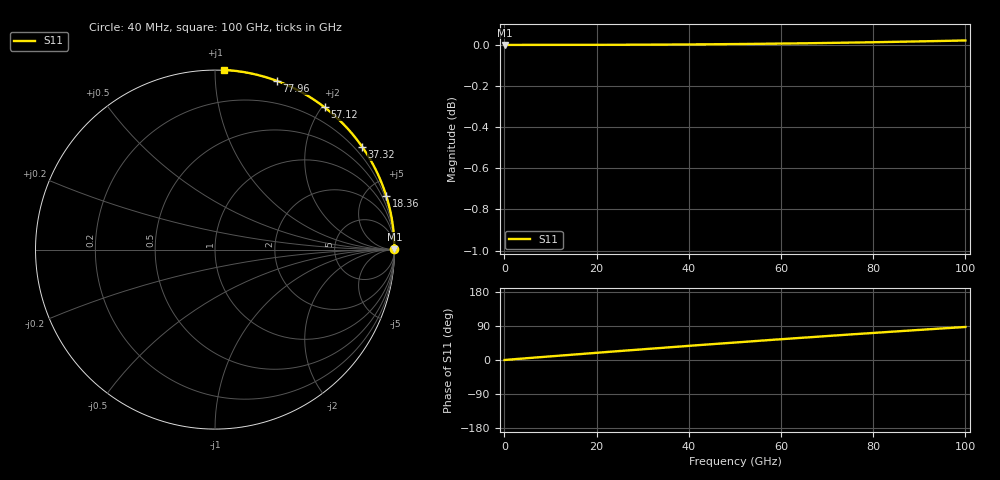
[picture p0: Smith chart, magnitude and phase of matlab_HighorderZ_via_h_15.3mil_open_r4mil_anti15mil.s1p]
#  GHz  S  RI  R  50
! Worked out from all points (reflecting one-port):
!   2500 points, 40 MHz to 100 GHz, reference 50 ohm
!   lowest |S11| = 0.0 dB at 40 MHz (marker M1)
!   phase of S11 starts at 0 deg and turns +87 deg over the sweep
!   S11 on the Smith chart (normalised r, x): 40 MHz: open; 18.36 GHz: -0.00, +6.50; 37.32 GHz: -0.00, +3.18; 57.12 GHz: -0.00, +2.03; 77.96 GHz: -0.00, +1.43; 100 GHz: -0.00, +1.05
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0.04  1 0.000722
0.48  1 0.0084
3.36  0.9984 0.0573
6.24  0.9944 0.1054
9.4  0.9875 0.1575
12.56  0.978 0.2088
15.44  0.967 0.2549
18.36  0.9537 0.3008
21.68  0.9361 0.3518
25.04  0.9156 0.4022
31.08  0.8725 0.4888
37.32  0.8201 0.5726
37.56  0.8179 0.5757
43.88  0.7573 0.6536
50.04  0.6921 0.7224
53.6  0.6521 0.7589
57.12  0.611 0.7925
62.52  0.5454 0.8392
65.64  0.5063 0.8634
68.76  0.4665 0.8857
71.88  0.4261 0.906
75.04  0.3846 0.9245
77.96  0.3459 0.9398
82.72  0.2822 0.961
87.52  0.2175 0.9779
93.76  0.1333 0.9933
99.52  0.0558 1.001
100  0.0494 1.001
